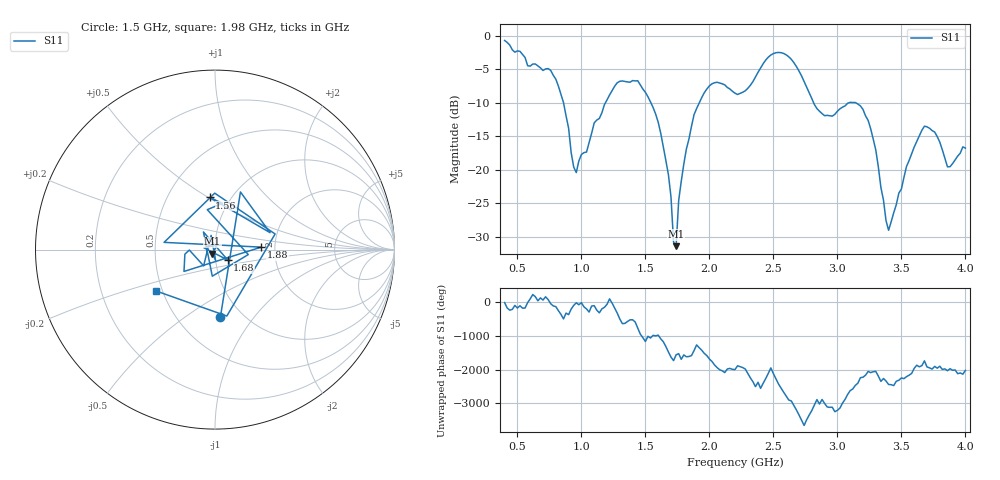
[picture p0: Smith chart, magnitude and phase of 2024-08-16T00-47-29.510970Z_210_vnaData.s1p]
!Created with skrf (http://scikit-rf.org).
# Hz S RI R 50.0
!freq ReS11 ImS11
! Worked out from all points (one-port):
!   181 points, 400 MHz to 4 GHz, reference 50 ohm
!   lowest |S11| = -31.4 dB at 1.74 GHz (marker M1), VSWR 1.06, Z = 48.5 - j2.23 ohm
!   |S11| at or under -10 dB: 860.5 MHz to 1.188 GHz (327 MHz wide, 31.9 % of centre); 1.543 GHz to 1.921 GHz (378 MHz wide, 21.8 % of centre); 3.144 GHz to end of sweep (the widest 3 of 4)
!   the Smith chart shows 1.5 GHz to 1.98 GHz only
!   S11 on the Smith chart (normalised r, x): 1.5 GHz: 0.79, -0.70; 1.56 GHz: 0.80, +0.51; 1.68 GHz: 1.14, -0.13; 1.88 GHz: 1.69, +0.05; 1.98 GHz: 0.46, -0.25
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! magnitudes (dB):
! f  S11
! 400 MHz  -0.7
! 580 MHz  -4.5
! 760 MHz  -5.2
! 860 MHz  -9.9
! 960 MHz  -20.4
! 1.1 GHz  -13.0
! 1.3 GHz  -6.8
! 1.5 GHz  -8.4
! 1.56 GHz  -10.7
! 1.68 GHz  -20.7
! 1.7 GHz  -24.1
! 1.72 GHz  -30.8
! 1.74 GHz  -31.4
! 1.76 GHz  -24.6
! 1.88 GHz  -11.8
! 1.98 GHz  -7.9
! 2.2 GHz  -8.6
! 2.5 GHz  -2.7
! 2.66 GHz  -4.0
! 2.9 GHz  -11.9
! 3.1 GHz  -9.9
! 3.26 GHz  -13.9
! 3.4 GHz  -29.0
! 3.56 GHz  -18.6
! 3.68 GHz  -13.5
! 3.76 GHz  -14.4
! 3.86 GHz  -19.5
! 4 GHz  -16.8
